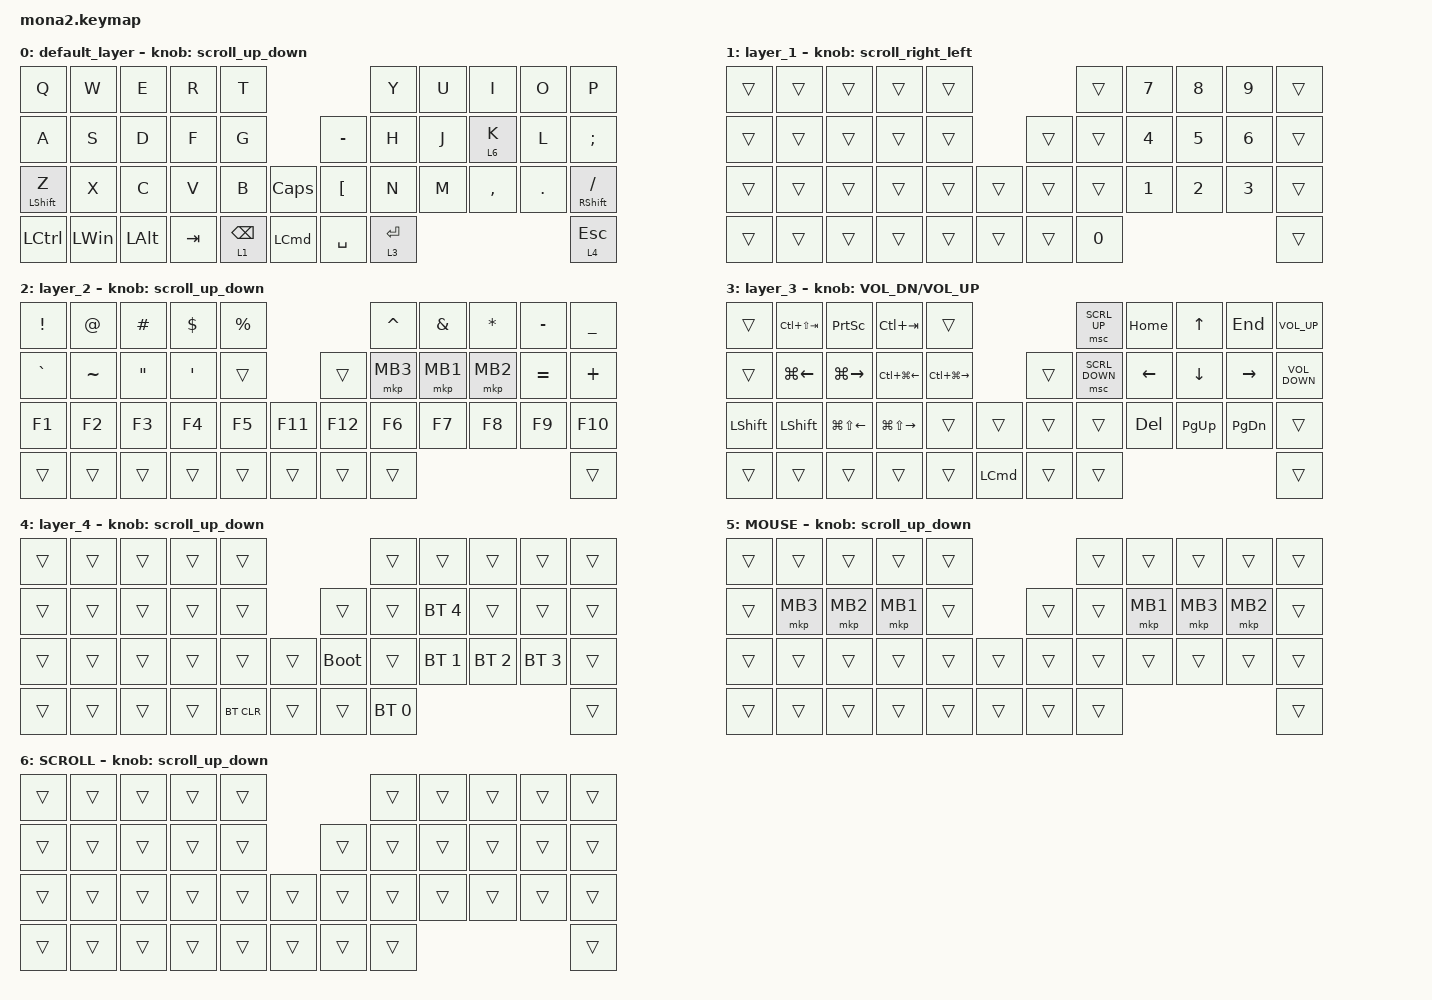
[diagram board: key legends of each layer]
#include <input/processors.dtsi>
#include <dt-bindings/zmk/input_transform.h>
#include <zephyr/dt-bindings/input/input-event-codes.h>
#include <behaviors.dtsi>
#include <dt-bindings/zmk/bt.h>
#include <dt-bindings/zmk/keys.h>
#include <dt-bindings/zmk/pointing.h>

#define ZMK_POINTING_DEFAULT_SCRL_VAL 100
#define MOUSE 5
#define SCROLL 6

&mt {
    flavor = "balanced";
    quick-tap-ms = <0>;
};

&lt {
    quick-tap-ms = <300>;
    flavor = "balanced";
};

/ {
    combos { compatible = "zmk,combos"; };

    macros {
        to_layer_0: to_layer_0 {
            compatible = "zmk,behavior-macro-one-param";
            #binding-cells = <1>;
            bindings = <&to 0 &macro_param_1to1 &kp MACRO_PLACEHOLDER>;
            label = "TO_LAYER_0";
        };
    };

    behaviors {
        lt_to_layer_0: lt_to_layer_0 {
            compatible = "zmk,behavior-hold-tap";
            label = "LAYER_TAP_TO_0";
            bindings = <&mo>, <&to_layer_0>;

            #binding-cells = <2>;
            tapping-term-ms = <200>;
        };

        scroll_up_down: mouse_wheel_up_down {
            compatible = "zmk,behavior-sensor-rotate";
            #sensor-binding-cells = <0>;
            bindings = <&msc SCRL_DOWN>, <&msc SCRL_UP>;

            tap-ms = <20>;
        };

        scroll_right_left: mouse_wheel_right_left {
            compatible = "zmk,behavior-sensor-rotate";
            #sensor-binding-cells = <0>;
            bindings = <&msc SCRL_LEFT>, <&msc SCRL_RIGHT>;

            tap-ms = <20>;
        };
    };

    keymap {
        compatible = "zmk,keymap";

        default_layer {
            bindings = <
&kp Q             &kp W         &kp E         &kp R    &kp T                                                  &kp Y        &kp U  &kp I      &kp O    &kp P
&kp A             &kp S         &kp D         &kp F    &kp G                                &kp MINUS         &kp H        &kp J  &lt 6 K    &kp L    &kp SEMICOLON
&mt LEFT_SHIFT Z  &kp X         &kp C         &kp V    &kp B            &kp CAPS            &kp LEFT_BRACKET  &kp N        &kp M  &kp COMMA  &kp DOT  &mt RIGHT_SHIFT SLASH
&kp LCTRL         &kp LEFT_WIN  &kp LEFT_ALT  &kp TAB  &lt 1 BACKSPACE  &kp LEFT_COMMAND    &kp SPACE         &lt 3 ENTER                             &lt 4 ESCAPE
            >;

            sensor-bindings = <&scroll_up_down>;
        };

        layer_1 {
            bindings = <
&trans  &trans  &trans  &trans  &trans                    &trans  &kp NUMBER_7  &kp NUMBER_8  &kp NUMBER_9  &trans
&trans  &trans  &trans  &trans  &trans            &trans  &trans  &kp NUMBER_4  &kp N5        &kp NUMBER_6  &trans
&trans  &trans  &trans  &trans  &trans  &trans    &trans  &trans  &kp NUMBER_1  &kp NUMBER_2  &kp NUMBER_3  &trans
&trans  &trans  &trans  &trans  &trans  &trans    &trans  &kp N0                                            &trans
            >;

            sensor-bindings = <&scroll_right_left>;
        };

        layer_2 {
            bindings = <
&kp EXCLAMATION  &kp AT_SIGN  &kp POUND          &kp DOLLAR  &kp PERCENT                      &kp CARET  &kp AMPERSAND  &kp ASTERISK  &kp MINUS  &kp UNDERSCORE
&kp GRAVE        &kp TILDE    &kp DOUBLE_QUOTES  &kp SQT     &trans                  &trans   &mkp MB3   &mkp MB1       &mkp MB2      &kp EQUAL  &kp PLUS
&kp F1           &kp F2       &kp F3             &kp F4      &kp F5       &kp F11    &kp F12  &kp F6     &kp F7         &kp F8        &kp F9     &kp F10
&trans           &trans       &trans             &trans      &trans       &trans     &trans   &trans                                             &trans
            >;

            sensor-bindings = <&scroll_up_down>;
        };

        layer_3 {
            bindings = <
&trans          &kp LC(LS(TAB))     &kp PRINTSCREEN         &kp LC(TAB)              &trans                                               &msc SCRL_UP    &kp HOME        &kp UP_ARROW    &kp END          &kp C_VOLUME_UP
&trans          &kp LG(LEFT_ARROW)  &kp LG(RIGHT_ARROW)     &kp LC(LG(LEFT_ARROW))   &kp LC(LG(RIGHT_ARROW))                      &trans  &msc SCRL_DOWN  &kp LEFT_ARROW  &kp DOWN_ARROW  &kp RIGHT_ARROW  &kp K_VOLUME_DOWN
&kp LEFT_SHIFT  &kp LEFT_SHIFT      &kp LG(LS(LEFT_ARROW))  &kp LG(LS(RIGHT_ARROW))  &trans                   &trans              &trans  &trans          &kp DELETE      &kp PAGE_UP     &kp PAGE_DOWN    &trans
&trans          &trans              &trans                  &trans                   &trans                   &kp LEFT_COMMAND    &trans  &trans                                                           &trans
            >;

            sensor-bindings = <&inc_dec_kp C_VOL_DN C_VOL_UP>;
        };

        layer_4 {
            bindings = <
&trans  &trans  &trans  &trans  &trans                             &trans        &trans        &trans        &trans        &trans
&trans  &trans  &trans  &trans  &trans                &trans       &trans        &bt BT_SEL 4  &trans        &trans        &trans
&trans  &trans  &trans  &trans  &trans      &trans    &bootloader  &trans        &bt BT_SEL 1  &bt BT_SEL 2  &bt BT_SEL 3  &trans
&trans  &trans  &trans  &trans  &bt BT_CLR  &trans    &trans       &bt BT_SEL 0                                            &trans
            >;

            sensor-bindings = <&scroll_up_down>;
        };

        MOUSE {
            bindings = <
&trans  &trans    &trans    &trans    &trans                    &trans  &trans    &trans    &trans    &trans
&trans  &mkp MB3  &mkp MB2  &mkp MB1  &trans            &trans  &trans  &mkp MB1  &mkp MB3  &mkp MB2  &trans
&trans  &trans    &trans    &trans    &trans  &trans    &trans  &trans  &trans    &trans    &trans    &trans
&trans  &trans    &trans    &trans    &trans  &trans    &trans  &trans                                &trans
            >;

            sensor-bindings = <&scroll_up_down>;
        };

        SCROLL {
            bindings = <
&trans  &trans  &trans  &trans  &trans                    &trans  &trans  &trans  &trans  &trans
&trans  &trans  &trans  &trans  &trans            &trans  &trans  &trans  &trans  &trans  &trans
&trans  &trans  &trans  &trans  &trans  &trans    &trans  &trans  &trans  &trans  &trans  &trans
&trans  &trans  &trans  &trans  &trans  &trans    &trans  &trans                          &trans
            >;

            sensor-bindings = <&scroll_up_down>;
        };
    };
};
